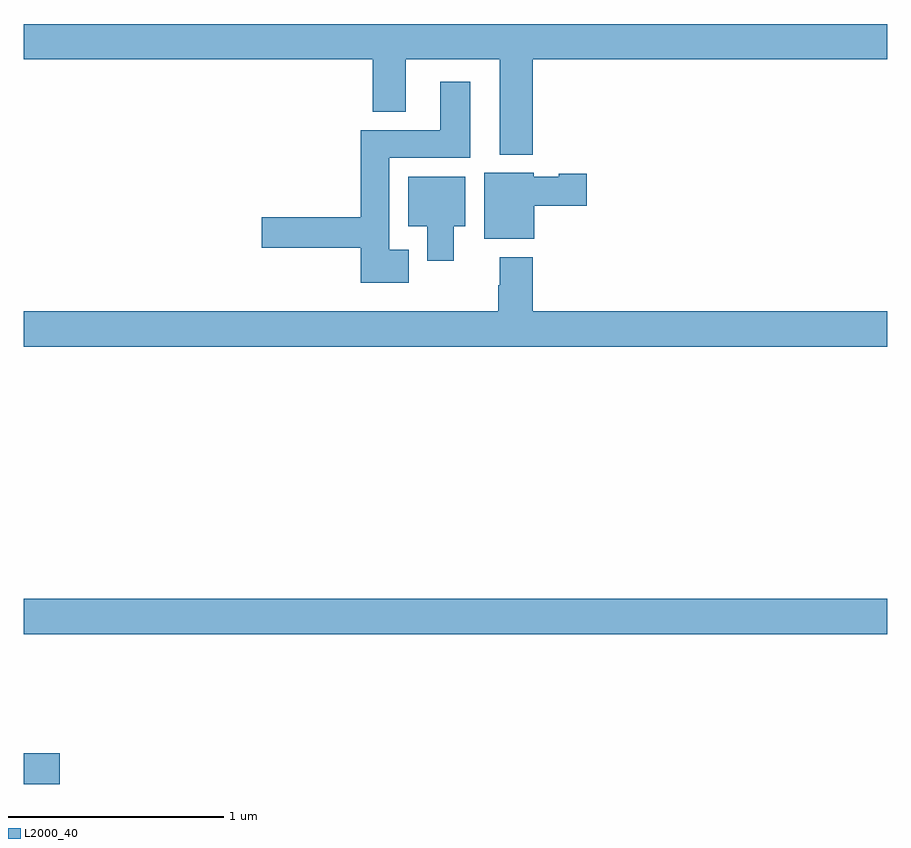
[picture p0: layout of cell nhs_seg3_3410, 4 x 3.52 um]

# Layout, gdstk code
import gdstk
lib = gdstk.Library(unit=1e-6, precision=1e-09)
def R(c, l, rs):  # rectangles x0, y0, x1, y1
    for r in rs: c.add(gdstk.rectangle(r[:2], r[2:], *l))
def P(c, l, *ps):  # polygons
    for p in ps: c.add(gdstk.Polygon(p, *l))
L2000_40 = (2000, 40)

nhs_seg3_3410 = lib.new_cell('nhs_seg3_3410')
R(nhs_seg3_3410, L2000_40, [(287,742.846,287.167,742.988), (287,743.54,291,743.704)])
P(nhs_seg3_3410, L2000_40, [(289.358,746.204),(291,746.204),(291,746.368),(287,746.368),(287,746.204),(288.617,746.204),(288.617,745.961),(288.769,745.961),(288.769,746.204),(289.205,746.204),(289.205,745.763),(289.358,745.763)],
  [(288.784,745.321),(288.694,745.321),(288.694,745.748),(289.069,745.748),(289.069,746.101),(288.929,746.101),(288.929,745.876),(288.56,745.876),(288.56,745.472),(288.102,745.472),(288.102,745.33),(288.56,745.33),(288.56,745.169),(288.784,745.169)],
  [(289.366,745.526),(289.609,745.526),(289.609,745.673),(289.479,745.673),(289.479,745.66),(289.362,745.66),(289.362,745.678),(289.133,745.678),(289.133,745.373),(289.366,745.373)],
  [(288.991,745.43),(289.045,745.43),(289.045,745.66),(288.782,745.66),(288.782,745.43),(288.869,745.43),(288.869,745.272),(288.991,745.272)],
  [(291,745.036),(289.358,745.036),(289.358,745.288),(289.205,745.288),(289.205,745.157),(289.198,745.157),(289.198,745.036),(287,745.036),(287,744.872),(291,744.872)])

lib.write_gds('nhs_seg3_3410.gds')
